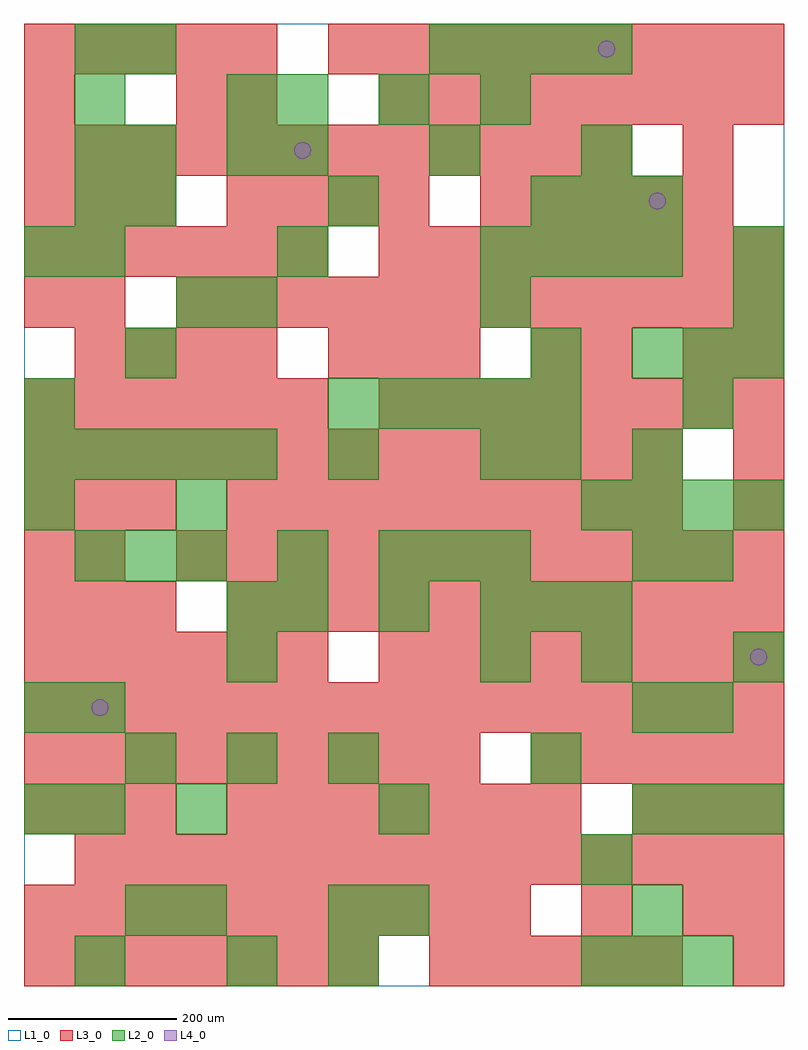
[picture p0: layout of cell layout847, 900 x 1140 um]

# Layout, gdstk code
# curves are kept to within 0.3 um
import gdstk
lib = gdstk.Library(unit=1e-6, precision=1e-09)
def R(c, l, rs):  # rectangles x0, y0, x1, y1
    for r in rs: c.add(gdstk.rectangle(r[:2], r[2:], *l))
def A(c, l, x, y, w, h, nx, ny, dx, dy):  # array of equal rectangles
    R(c, l, [(x+i*dx, y+j*dy, x+i*dx+w, y+j*dy+h) for i in range(nx) for j in range(ny)])
def P(c, l, *ps):  # polygons
    for p in ps: c.add(gdstk.Polygon(p, *l))
L1_0 = (1, 0)
L2_0 = (2, 0)
L3_0 = (3, 0)
L4_0 = (4, 0)

layout847 = lib.new_cell('layout847')
R(layout847, L1_0, [(0,0,900,1140)])
A(layout847, L2_0, 660, 0, 60, 60, 3, 1, 60, 0)
A(layout847, L2_0, 720, 180, 60, 60, 3, 2, 60, 540)
A(layout847, L2_0, 120, 240, 60, 60, 3, 1, 120, 0)
A(layout847, L2_0, 600, 240, 60, 60, 1, 3, 0, 180)
A(layout847, L2_0, 780, 300, 60, 60, 1, 3, 0, 180)
A(layout847, L2_0, 300, 420, 60, 60, 3, 2, 120, 600)
A(layout847, L2_0, 60, 480, 60, 60, 3, 1, 60, 0)
A(layout847, L2_0, 420, 480, 60, 60, 3, 1, 60, 0)
A(layout847, L2_0, 660, 540, 60, 60, 4, 1, 60, 0)
A(layout847, L2_0, 0, 600, 60, 60, 5, 1, 60, 0)
A(layout847, L2_0, 360, 660, 60, 60, 5, 1, 60, 0)
A(layout847, L2_0, 240, 780, 60, 60, 3, 1, 300, 0)
A(layout847, L2_0, 60, 840, 60, 60, 3, 1, 240, 0)
A(layout847, L2_0, 600, 840, 60, 60, 3, 1, 60, 0)
A(layout847, L2_0, 60, 900, 60, 60, 1, 4, 0, 60)
A(layout847, L2_0, 120, 900, 60, 60, 3, 1, 240, 0)
A(layout847, L2_0, 300, 960, 60, 60, 3, 1, 180, 0)
A(layout847, L2_0, 480, 1080, 60, 60, 4, 1, 60, 0)
R(layout847, L2_0, [(60,0,120,60), (240,0,300,60), (360,0,420,60), (120,60,180,120), (180,60,240,120), (360,60,420,120), (420,60,480,120), (720,60,780,120), (660,120,720,180), (0,180,60,240), (60,180,120,240), (180,180,240,240), (420,180,480,240), (0,300,60,360), (60,300,120,360), (720,300,780,360), (240,360,300,420), (540,360,600,420), (660,360,720,420), (840,360,900,420), (240,420,300,480), (660,420,720,480), (300,480,360,540), (720,480,780,540), (0,540,60,600), (180,540,240,600), (360,600,420,660), (540,600,600,660), (720,600,780,660), (0,660,60,720), (120,720,180,780), (600,720,660,780), (180,780,240,840), (0,840,60,900), (840,840,900,900), (660,900,720,960), (720,900,780,960), (120,960,180,1020), (240,960,300,1020), (240,1020,300,1080), (120,1080,180,1140)])
A(layout847, L3_0, 0, 0, 60, 60, 7, 1, 60, 0)
A(layout847, L3_0, 480, 0, 60, 60, 5, 1, 60, 0)
A(layout847, L3_0, 0, 60, 60, 60, 10, 1, 60, 0)
A(layout847, L3_0, 60, 120, 60, 60, 14, 1, 60, 0)
A(layout847, L3_0, 0, 180, 60, 60, 3, 2, 60, 240)
A(layout847, L3_0, 240, 180, 60, 60, 7, 1, 60, 0)
A(layout847, L3_0, 720, 180, 60, 60, 3, 1, 60, 0)
A(layout847, L3_0, 0, 240, 60, 60, 9, 1, 60, 0)
A(layout847, L3_0, 600, 240, 60, 60, 5, 1, 60, 0)
A(layout847, L3_0, 0, 300, 60, 60, 15, 1, 60, 0)
A(layout847, L3_0, 0, 360, 60, 60, 6, 2, 60, 300)
A(layout847, L3_0, 420, 360, 60, 60, 8, 2, 60, 300)
A(layout847, L3_0, 240, 420, 60, 60, 11, 1, 60, 0)
A(layout847, L3_0, 180, 480, 60, 60, 12, 2, 60, 300)
A(layout847, L3_0, 0, 540, 60, 60, 3, 2, 60, 360)
A(layout847, L3_0, 240, 540, 60, 60, 9, 1, 60, 0)
A(layout847, L3_0, 0, 600, 60, 60, 13, 1, 60, 0)
A(layout847, L3_0, 60, 720, 60, 60, 4, 1, 60, 0)
A(layout847, L3_0, 360, 720, 60, 60, 3, 1, 60, 0)
A(layout847, L3_0, 0, 840, 60, 60, 6, 1, 60, 0)
A(layout847, L3_0, 420, 840, 60, 60, 8, 2, 60, 180)
A(layout847, L3_0, 240, 900, 60, 60, 4, 1, 60, 0)
A(layout847, L3_0, 540, 900, 60, 60, 5, 1, 60, 0)
A(layout847, L3_0, 0, 960, 60, 60, 12, 1, 60, 0)
A(layout847, L3_0, 0, 1080, 60, 60, 5, 1, 60, 0)
A(layout847, L3_0, 360, 1080, 60, 60, 9, 1, 60, 0)
R(layout847, L3_0, [(840,0,900,60), (660,60,720,120), (780,60,840,120), (840,60,900,120), (0,480,60,540), (60,480,120,540), (840,540,900,600), (840,600,900,660), (600,720,660,780), (660,720,720,780), (780,720,840,780), (840,720,900,780), (0,780,60,840), (60,780,120,840), (780,960,840,1020), (0,1020,60,1080), (180,1020,240,1080), (240,1020,300,1080)])
P(layout847, L4_0, [(100,330),(99.239,333.827),(97.071,337.071),(93.827,339.239),(90,340),(86.173,339.239),(82.929,337.071),(80.761,333.827),(80,330),(80.761,326.173),(82.929,322.929),(86.173,320.761),(90,320),(93.827,320.761),(97.071,322.929),(99.239,326.173)],
  [(340,990),(339.239,993.827),(337.071,997.071),(333.827,999.239),(330,1000),(326.173,999.239),(322.929,997.071),(320.761,993.827),(320,990),(320.761,986.173),(322.929,982.929),(326.173,980.761),(330,980),(333.827,980.761),(337.071,982.929),(339.239,986.173)],
  [(700,1110),(699.239,1113.827),(697.071,1117.071),(693.827,1119.239),(690,1120),(686.173,1119.239),(682.929,1117.071),(680.761,1113.827),(680,1110),(680.761,1106.173),(682.929,1102.929),(686.173,1100.761),(690,1100),(693.827,1100.761),(697.071,1102.929),(699.239,1106.173)],
  [(760,930),(759.239,933.827),(757.071,937.071),(753.827,939.239),(750,940),(746.173,939.239),(742.929,937.071),(740.761,933.827),(740,930),(740.761,926.173),(742.929,922.929),(746.173,920.761),(750,920),(753.827,920.761),(757.071,922.929),(759.239,926.173)],
  [(880,390),(879.239,393.827),(877.071,397.071),(873.827,399.239),(870,400),(866.173,399.239),(862.929,397.071),(860.761,393.827),(860,390),(860.761,386.173),(862.929,382.929),(866.173,380.761),(870,380),(873.827,380.761),(877.071,382.929),(879.239,386.173)])

lib.write_gds('layout847.gds')
